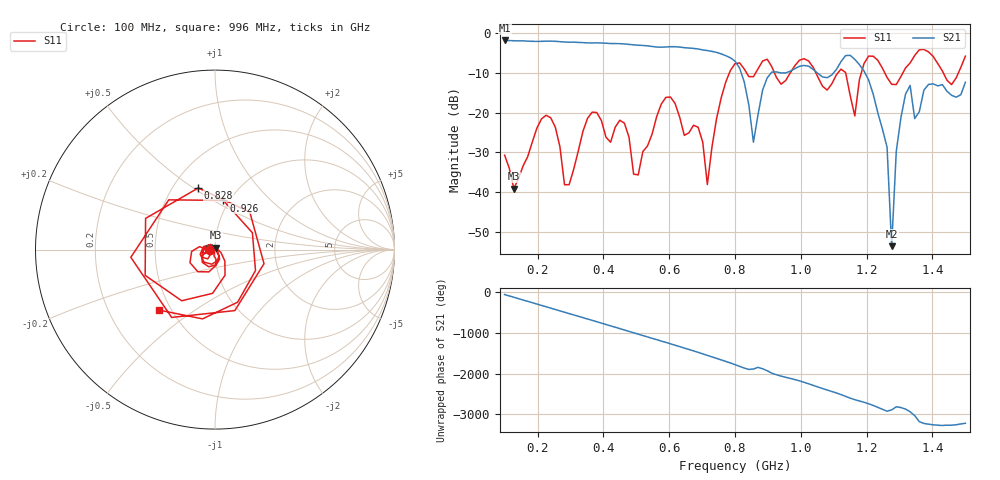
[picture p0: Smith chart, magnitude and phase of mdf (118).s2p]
! NanoVNA-App
! Date: 2025-09-25 17:41:53
! Start: 100MHz Stop: 1,5GHz Points: 101
! S-Parameter data: F S11 S21 S12 S22
# Hz S RI R 50
!  Frequency  S11_Real  S11_Imag  S21_Real  S21_Imag  S12_Real  S12_Imag  S22_Real  S22_Imag
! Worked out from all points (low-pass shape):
!   101 points, 100 MHz to 1.5 GHz, reference 50 ohm
!   highest |S21| = -1.80 dB at 100 MHz (marker M1); lowest = -53.6 dB at 1.276 GHz (marker M2)
!   |S21| within 3 dB of the highest: start of sweep to 743.8 MHz
!   lowest |S11| = -39.1 dB at 128 MHz (marker M3), VSWR 1.02, Z = 50.3 + j1.06 ohm
!   |S11| at or under -10 dB: start of sweep to 782.9 MHz; 1.046 GHz to 1.112 GHz (66.55 MHz wide, 6.17 % of centre); 1.255 GHz to 1.31 GHz (54.6 MHz wide, 4.26 % of centre)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
!   S12 and S22 are empty: the file has one direction only
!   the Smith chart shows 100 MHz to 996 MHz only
!   S11 on the Smith chart (normalised r, x): 100 MHz: 0.94, -0.01; 828 MHz: 0.67, +0.52; 926 MHz: 0.94, +0.56; 996 MHz: 0.43, -0.37
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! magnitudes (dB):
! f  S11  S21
! 100 MHz  -30.7  -1.8
! 128 MHz  -39.1  -1.9
! 212 MHz  -21.6  -2.0
! 282 MHz  -38.2  -2.2
! 338 MHz  -24.7  -2.3
! 506 MHz  -35.7  -3.0
! 576 MHz  -17.8  -3.5
! 688 MHz  -23.7  -3.9
! 716 MHz  -38.1  -4.4
! 800 MHz  -7.6  -7.0
! 828 MHz  -9.0  -12.2
! 856 MHz  -10.9  -27.4
! 926 MHz  -11.1  -9.7
! 996 MHz  -6.8  -8.3
! 1.038 GHz  -8.6  -9.1
! 1.164 GHz  -20.8  -6.6
! 1.206 GHz  -5.7  -11.8
! 1.262 GHz  -11.1  -28.7
! 1.276 GHz  -12.8  -53.6
! 1.29 GHz  -12.9  -29.7
! 1.318 GHz  -8.7  -15.4
! 1.5 GHz  -5.8  -12.4
